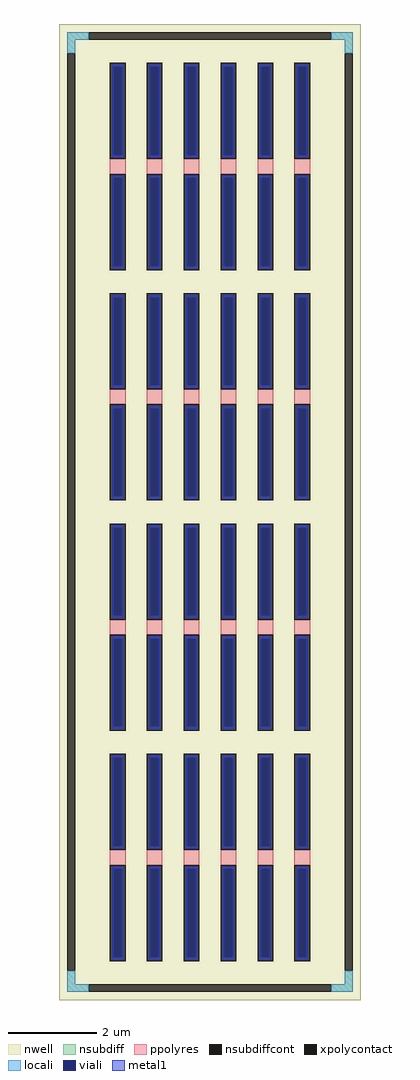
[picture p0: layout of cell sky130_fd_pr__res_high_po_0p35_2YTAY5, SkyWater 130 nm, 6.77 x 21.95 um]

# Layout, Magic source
magic
tech sky130A
magscale 1 2
<< nwell >>
rect -677 -2195 677 2195
<< nsubdiff >>
rect -641 2125 -545 2159
rect 545 2125 641 2159
rect -641 2063 -607 2125
rect 607 2063 641 2125
rect -641 -2125 -607 -2063
rect 607 -2125 641 -2063
rect -641 -2159 -545 -2125
rect 545 -2159 641 -2125
<< nsubdiffcont >>
rect -545 2125 545 2159
rect -641 -2063 -607 2063
rect 607 -2063 641 2063
rect -545 -2159 545 -2125
<< xpolycontact >>
rect -450 1588 -380 2020
rect -450 1088 -380 1520
rect -284 1588 -214 2020
rect -284 1088 -214 1520
rect -118 1588 -48 2020
rect -118 1088 -48 1520
rect 48 1588 118 2020
rect 48 1088 118 1520
rect 214 1588 284 2020
rect 214 1088 284 1520
rect 380 1588 450 2020
rect 380 1088 450 1520
rect -450 552 -380 984
rect -450 52 -380 484
rect -284 552 -214 984
rect -284 52 -214 484
rect -118 552 -48 984
rect -118 52 -48 484
rect 48 552 118 984
rect 48 52 118 484
rect 214 552 284 984
rect 214 52 284 484
rect 380 552 450 984
rect 380 52 450 484
rect -450 -484 -380 -52
rect -450 -984 -380 -552
rect -284 -484 -214 -52
rect -284 -984 -214 -552
rect -118 -484 -48 -52
rect -118 -984 -48 -552
rect 48 -484 118 -52
rect 48 -984 118 -552
rect 214 -484 284 -52
rect 214 -984 284 -552
rect 380 -484 450 -52
rect 380 -984 450 -552
rect -450 -1520 -380 -1088
rect -450 -2020 -380 -1588
rect -284 -1520 -214 -1088
rect -284 -2020 -214 -1588
rect -118 -1520 -48 -1088
rect -118 -2020 -48 -1588
rect 48 -1520 118 -1088
rect 48 -2020 118 -1588
rect 214 -1520 284 -1088
rect 214 -2020 284 -1588
rect 380 -1520 450 -1088
rect 380 -2020 450 -1588
<< ppolyres >>
rect -450 1520 -380 1588
rect -284 1520 -214 1588
rect -118 1520 -48 1588
rect 48 1520 118 1588
rect 214 1520 284 1588
rect 380 1520 450 1588
rect -450 484 -380 552
rect -284 484 -214 552
rect -118 484 -48 552
rect 48 484 118 552
rect 214 484 284 552
rect 380 484 450 552
rect -450 -552 -380 -484
rect -284 -552 -214 -484
rect -118 -552 -48 -484
rect 48 -552 118 -484
rect 214 -552 284 -484
rect 380 -552 450 -484
rect -450 -1588 -380 -1520
rect -284 -1588 -214 -1520
rect -118 -1588 -48 -1520
rect 48 -1588 118 -1520
rect 214 -1588 284 -1520
rect 380 -1588 450 -1520
<< locali >>
rect -641 2125 -545 2159
rect 545 2125 641 2159
rect -641 2063 -607 2125
rect 607 2063 641 2125
rect -641 -2125 -607 -2063
rect 607 -2125 641 -2063
rect -641 -2159 -545 -2125
rect 545 -2159 641 -2125
<< viali >>
rect -434 1605 -396 2002
rect -268 1605 -230 2002
rect -102 1605 -64 2002
rect 64 1605 102 2002
rect 230 1605 268 2002
rect 396 1605 434 2002
rect -434 1106 -396 1503
rect -268 1106 -230 1503
rect -102 1106 -64 1503
rect 64 1106 102 1503
rect 230 1106 268 1503
rect 396 1106 434 1503
rect -434 569 -396 966
rect -268 569 -230 966
rect -102 569 -64 966
rect 64 569 102 966
rect 230 569 268 966
rect 396 569 434 966
rect -434 70 -396 467
rect -268 70 -230 467
rect -102 70 -64 467
rect 64 70 102 467
rect 230 70 268 467
rect 396 70 434 467
rect -434 -467 -396 -70
rect -268 -467 -230 -70
rect -102 -467 -64 -70
rect 64 -467 102 -70
rect 230 -467 268 -70
rect 396 -467 434 -70
rect -434 -966 -396 -569
rect -268 -966 -230 -569
rect -102 -966 -64 -569
rect 64 -966 102 -569
rect 230 -966 268 -569
rect 396 -966 434 -569
rect -434 -1503 -396 -1106
rect -268 -1503 -230 -1106
rect -102 -1503 -64 -1106
rect 64 -1503 102 -1106
rect 230 -1503 268 -1106
rect 396 -1503 434 -1106
rect -434 -2002 -396 -1605
rect -268 -2002 -230 -1605
rect -102 -2002 -64 -1605
rect 64 -2002 102 -1605
rect 230 -2002 268 -1605
rect 396 -2002 434 -1605
<< metal1 >>
rect -440 2002 -390 2014
rect -440 1605 -434 2002
rect -396 1605 -390 2002
rect -440 1593 -390 1605
rect -274 2002 -224 2014
rect -274 1605 -268 2002
rect -230 1605 -224 2002
rect -274 1593 -224 1605
rect -108 2002 -58 2014
rect -108 1605 -102 2002
rect -64 1605 -58 2002
rect -108 1593 -58 1605
rect 58 2002 108 2014
rect 58 1605 64 2002
rect 102 1605 108 2002
rect 58 1593 108 1605
rect 224 2002 274 2014
rect 224 1605 230 2002
rect 268 1605 274 2002
rect 224 1593 274 1605
rect 390 2002 440 2014
rect 390 1605 396 2002
rect 434 1605 440 2002
rect 390 1593 440 1605
rect -440 1503 -390 1515
rect -440 1106 -434 1503
rect -396 1106 -390 1503
rect -440 1094 -390 1106
rect -274 1503 -224 1515
rect -274 1106 -268 1503
rect -230 1106 -224 1503
rect -274 1094 -224 1106
rect -108 1503 -58 1515
rect -108 1106 -102 1503
rect -64 1106 -58 1503
rect -108 1094 -58 1106
rect 58 1503 108 1515
rect 58 1106 64 1503
rect 102 1106 108 1503
rect 58 1094 108 1106
rect 224 1503 274 1515
rect 224 1106 230 1503
rect 268 1106 274 1503
rect 224 1094 274 1106
rect 390 1503 440 1515
rect 390 1106 396 1503
rect 434 1106 440 1503
rect 390 1094 440 1106
rect -440 966 -390 978
rect -440 569 -434 966
rect -396 569 -390 966
rect -440 557 -390 569
rect -274 966 -224 978
rect -274 569 -268 966
rect -230 569 -224 966
rect -274 557 -224 569
rect -108 966 -58 978
rect -108 569 -102 966
rect -64 569 -58 966
rect -108 557 -58 569
rect 58 966 108 978
rect 58 569 64 966
rect 102 569 108 966
rect 58 557 108 569
rect 224 966 274 978
rect 224 569 230 966
rect 268 569 274 966
rect 224 557 274 569
rect 390 966 440 978
rect 390 569 396 966
rect 434 569 440 966
rect 390 557 440 569
rect -440 467 -390 479
rect -440 70 -434 467
rect -396 70 -390 467
rect -440 58 -390 70
rect -274 467 -224 479
rect -274 70 -268 467
rect -230 70 -224 467
rect -274 58 -224 70
rect -108 467 -58 479
rect -108 70 -102 467
rect -64 70 -58 467
rect -108 58 -58 70
rect 58 467 108 479
rect 58 70 64 467
rect 102 70 108 467
rect 58 58 108 70
rect 224 467 274 479
rect 224 70 230 467
rect 268 70 274 467
rect 224 58 274 70
rect 390 467 440 479
rect 390 70 396 467
rect 434 70 440 467
rect 390 58 440 70
rect -440 -70 -390 -58
rect -440 -467 -434 -70
rect -396 -467 -390 -70
rect -440 -479 -390 -467
rect -274 -70 -224 -58
rect -274 -467 -268 -70
rect -230 -467 -224 -70
rect -274 -479 -224 -467
rect -108 -70 -58 -58
rect -108 -467 -102 -70
rect -64 -467 -58 -70
rect -108 -479 -58 -467
rect 58 -70 108 -58
rect 58 -467 64 -70
rect 102 -467 108 -70
rect 58 -479 108 -467
rect 224 -70 274 -58
rect 224 -467 230 -70
rect 268 -467 274 -70
rect 224 -479 274 -467
rect 390 -70 440 -58
rect 390 -467 396 -70
rect 434 -467 440 -70
rect 390 -479 440 -467
rect -440 -569 -390 -557
rect -440 -966 -434 -569
rect -396 -966 -390 -569
rect -440 -978 -390 -966
rect -274 -569 -224 -557
rect -274 -966 -268 -569
rect -230 -966 -224 -569
rect -274 -978 -224 -966
rect -108 -569 -58 -557
rect -108 -966 -102 -569
rect -64 -966 -58 -569
rect -108 -978 -58 -966
rect 58 -569 108 -557
rect 58 -966 64 -569
rect 102 -966 108 -569
rect 58 -978 108 -966
rect 224 -569 274 -557
rect 224 -966 230 -569
rect 268 -966 274 -569
rect 224 -978 274 -966
rect 390 -569 440 -557
rect 390 -966 396 -569
rect 434 -966 440 -569
rect 390 -978 440 -966
rect -440 -1106 -390 -1094
rect -440 -1503 -434 -1106
rect -396 -1503 -390 -1106
rect -440 -1515 -390 -1503
rect -274 -1106 -224 -1094
rect -274 -1503 -268 -1106
rect -230 -1503 -224 -1106
rect -274 -1515 -224 -1503
rect -108 -1106 -58 -1094
rect -108 -1503 -102 -1106
rect -64 -1503 -58 -1106
rect -108 -1515 -58 -1503
rect 58 -1106 108 -1094
rect 58 -1503 64 -1106
rect 102 -1503 108 -1106
rect 58 -1515 108 -1503
rect 224 -1106 274 -1094
rect 224 -1503 230 -1106
rect 268 -1503 274 -1106
rect 224 -1515 274 -1503
rect 390 -1106 440 -1094
rect 390 -1503 396 -1106
rect 434 -1503 440 -1106
rect 390 -1515 440 -1503
rect -440 -1605 -390 -1593
rect -440 -2002 -434 -1605
rect -396 -2002 -390 -1605
rect -440 -2014 -390 -2002
rect -274 -1605 -224 -1593
rect -274 -2002 -268 -1605
rect -230 -2002 -224 -1605
rect -274 -2014 -224 -2002
rect -108 -1605 -58 -1593
rect -108 -2002 -102 -1605
rect -64 -2002 -58 -1605
rect -108 -2014 -58 -2002
rect 58 -1605 108 -1593
rect 58 -2002 64 -1605
rect 102 -2002 108 -1605
rect 58 -2014 108 -2002
rect 224 -1605 274 -1593
rect 224 -2002 230 -1605
rect 268 -2002 274 -1605
rect 224 -2014 274 -2002
rect 390 -1605 440 -1593
rect 390 -2002 396 -1605
rect 434 -2002 440 -1605
rect 390 -2014 440 -2002
<< properties >>
string FIXED_BBOX -624 -2142 624 2142
string gencell sky130_fd_pr__res_high_po_0p35
string library sky130
string parameters w 0.350 l 0.5 m 4 nx 6 wmin 0.350 lmin 0.50 rho 319.8 val 1.57k dummy 0 dw 0.0 term 194.82 sterm 0.0 caplen 0 guard 1 glc 1 grc 1 gtc 1 gbc 1 compatible {sky130_fd_pr__res_high_po_0p35  sky130_fd_pr__res_high_po_0p69 sky130_fd_pr__res_high_po_1p41  sky130_fd_pr__res_high_po_2p85 sky130_fd_pr__res_high_po_5p73} snake 0 full_metal 1 wmax 0.350 vias 1 n_guard 1 hv_guard 0 viagb 0 viagt 0 viagl 0 viagr 0
<< end >>
